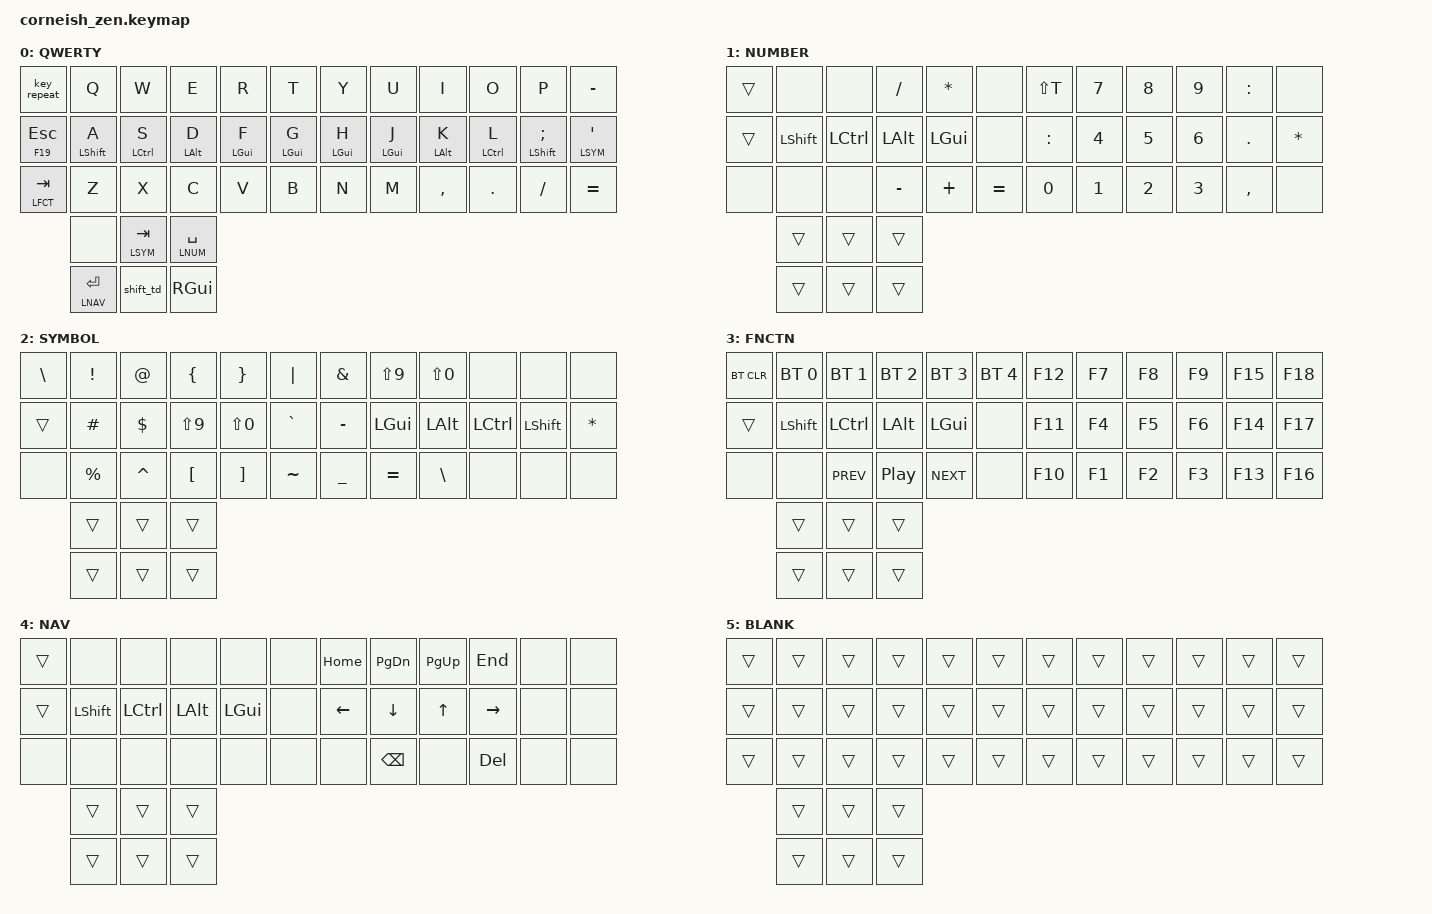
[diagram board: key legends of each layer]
/*
*
* Copyright (c) 2021 Darryl deHaan
* SPDX-License-Identifier: MIT
*
*/

#include <behaviors.dtsi>
#include <dt-bindings/zmk/keys.h>
#include <dt-bindings/zmk/bt.h>

#define DFLT 0
#define LNUM 1
#define LSYM 2
#define LFCT 3
#define LNAV 4

/ {
  chosen {
    zmk,matrix_transform = &default_transform;
    //zmk,matrix_transform = &five_column_transform;
  };
};

/ {
    behaviors {
        hm: homerow_mods {
            compatible = "zmk,behavior-hold-tap";
            label = "HOMEROW_MODS";
            #binding-cells = <2>;
            tapping-term-ms = <150>;
            quick-tap-ms = <0>;
            flavor = "tap-preferred";
            bindings = <&kp>, <&kp>;
        };

        super_esc: super_escape {
            compatible = "zmk,behavior-hold-tap";
            label = "SUPER_ESCAPE";
            #binding-cells = <2>;
            tapping-term-ms = <100>;
            quick-tap-ms = <0>;
            flavor = "hold-preferred";
            bindings = <&kp>, <&kp>;
        };

        lo_sk: layer_sticky_key {
            compatible = "zmk,behavior-hold-tap";
            label = "LAYER_STICKY";
            #binding-cells = <2>;
            tapping-term-ms = <150>;
            quick-tap-ms = <0>;
            flavor = "tap-preferred";
            bindings = <&mo>, <&sk>;
        };

        shift_td: tap_dance_mod_tap {
            compatible = "zmk,behavior-tap-dance";
            label = "TAP_DANCE_MOD_TAP";
            #binding-cells = <0>;
            tapping-term-ms = <200>;
            bindings = <&lo_sk LSYM LSHFT>, <&caps_word>;
        };

    };
    keymap {
        compatible = "zmk,keymap";

        default_layer {
            label = "QWERTY";
// -----------------------------------------------------------------------------------------
// |  RPT |  Q  |  W  |  E  |  R  |  T  |   |  Y  |  U   |  I  |  O  |  P  |  -  |
// | SUPR |  A  |  S  |  D  |  F  |  G  |   |  H  |  J   |  K  |  L  |  ;  |  '  |
// | TAB  |  Z  |  X  |  C  |  V  |  B  |   |  N  |  M   |  ,  |  .  |  /  |  =  |
//                    |     | TAB | SPC |   | ENT | SHFT |     |
//                    |     | SYM | NUM |   | NAV | SYM  |     |
            bindings = <
   &key_repeat        &kp Q        &kp W      &kp E       &kp R      &kp T                  &kp Y          &kp U         &kp I      &kp O      &kp P           &kp MINUS
   &super_esc F19 ESC &hm LSHIFT A &hm LCTL S &hm LALT D  &hm LGUI F &hm LGUI G             &hm LGUI H     &hm LGUI J    &hm LALT K &hm LCTL L &hm LSHIFT SEMI &lt LSYM SQT
   &lt LFCT TAB       &kp Z        &kp X      &kp C       &kp V      &kp B                  &kp N          &kp M         &kp COMMA  &kp DOT    &kp FSLH        &kp EQUAL
                &none        &lt LSYM TAB &lt LNUM SPC
                &lt LNAV RET &shift_td &kp RGUI
            >;
        };

        number_layer {
            label = "NUMBER";
// -----------------------------------------------------------------------------------------
// | ___ |      |     |  /  |  *  |     |   | _T_ |  7  |  8  |  9  |  :  |      |
// | ___ | SHFT | CTL | ALT | GUI |     |   |  :  |  4  |  5  |  6  |  .  |   *  |
// |     |      |     |  -  |  +  |  =  |   |  0  |  1  |  2  |  3  |  ,  |      |
//                    | ___ | ___ | ___ |   | ___ | ___ | ___ |
            bindings = <
   &trans &none     &none    &kp FSLH  &kp STAR &none          &kp LS(T) &kp N7 &kp N8 &kp N9 &kp COLON &none
   &trans &kp LSHFT &kp LCTL &kp LALT  &kp LGUI &none          &kp COLON &kp N4 &kp N5 &kp N6 &kp DOT   &kp STAR
   &none  &none     &none    &kp MINUS &kp PLUS &kp EQUAL      &kp    N0 &kp N1 &kp N2 &kp N3 &kp COMMA &none
                &trans &trans &trans
                &trans &trans &trans
            >;
        };

        symbol_layer {
            label = "SYMBOL";
// -----------------------------------------------------------------------------------------
// |  /  |  !  |  @  |  {  |  }  |  |  |   |  &  |  (  |  )  |      |      |     |
// | ___ |  #  |  $  |  (  |  )  |  `  |   |  -  | GUI | ALT | CTRL | SHFT |  *  |
// |     |  %  |  ^  |  [  |  ]  |  ~  |   |  _  |  =  |  \  |      |      |     |
//                   | ___ | ___ | ___ |   | ___ | ___ | ___ |
                        bindings = <
   &kp BSLH &kp EXCL  &kp AT    &kp LBRC   &kp RBRC   &kp PIPE        &kp AMPS  &kp LS(N9) &kp LS(N0) &none     &none     &none
   &trans   &kp HASH  &kp DLLR  &kp LS(N9) &kp LS(N0) &kp GRAVE       &kp MINUS &kp LGUI   &kp LALT   &kp LCTRL &kp LSHFT &kp STAR
   &none    &kp PRCNT &kp CARET &kp LBKT   &kp RBKT   &kp TILDE       &kp UNDER &kp EQUAL  &kp BSLH   &none     &none     &none
                &trans &trans &trans
                &trans &trans &trans
            >;
        };

        function_layer {
            label = "FNCTN";
// -----------------------------------------------------------------------------------------
// | BTCLR |  BT1 | BT2  | BT3  | BT4  | BT5 |   | F12 |  F7  |  F8  |  F9  | F15  | F18  |
// | _____ | SHFT | CTL  | ALT  | GUI  |     |   | F11 |  F4  |  F5  |  F6  | F14  | F17  |
// |       |      | PREV | PLAY | NEXT |     |   | F10 |  F1  |  F2  |  F3  | F13  | F16  |
//                       | ____ | ____ | ___ |   | ___ | ____ | ____ |
            bindings = <
   &bt BT_CLR &bt BT_SEL 0 &bt BT_SEL 1 &bt BT_SEL 2 &bt BT_SEL 3 &bt BT_SEL 4      &kp F12 &kp F7 &kp F8 &kp F9 &kp F15 &kp F18
   &trans     &kp LSHFT    &kp LCTL     &kp LALT     &kp LGUI     &none             &kp F11 &kp F4 &kp F5 &kp F6 &kp F14 &kp F17
   &none      &none        &kp C_PREV   &kp C_PP     &kp C_NEXT   &none             &kp F10 &kp F1 &kp F2 &kp F3 &kp F13 &kp F16
                &trans &trans &trans
                &trans &trans &trans
            >;
        };

        navigation_layer {
            label = "NAV";
// -----------------------------------------------------------------------------------------
// | ___ |      |     |     |     |     |   | HOME | PGDN | PGUP |  END  |      |      |
// | ___ | SHFT | CTL | ALT | GUI |     |   | LEFT | DOWN |  UP  | RIGHT |      |      |
// |     |      |     |     |     |     |   |      | BSPC |      |  DEL  |      |      |
//                    | ___ | ___ | ___ |   | ____ | ____ | ____ |
            bindings = <
   &trans &none     &none    &none    &none    &none       &kp HOME  &kp PG_DN &kp PG_UP &kp END   &none &none
   &trans &kp LSHFT &kp LCTL &kp LALT &kp LGUI &none       &kp LEFT  &kp DOWN  &kp UP    &kp RIGHT &none &none
   &none  &none     &none    &none    &none    &none       &none     &kp BSPC  &none     &kp DEL   &none &none
                &trans &trans &trans
                &trans &trans &trans
            >;
        };

        blank_layer {
          label = "BLANK";
// -----------------------------------------------------------------------------------------
// |      |     |     |     |     |     |   |     |     |     |      |      |      |
// |      |     |     |     |     |     |   |     |     |     |      |      |      |
// |      |     |     |     |     |     |   |     |     |     |      |      |      |
//                    |     |     |     |   |     |     |     |
            bindings = <
   &trans &trans &trans &trans &trans &trans       &trans &trans &trans &trans &trans &trans
   &trans &trans &trans &trans &trans &trans       &trans &trans &trans &trans &trans &trans
   &trans &trans &trans &trans &trans &trans       &trans &trans &trans &trans &trans &trans
                &trans &trans &trans
                &trans &trans &trans
            >;
        };

    };
};
